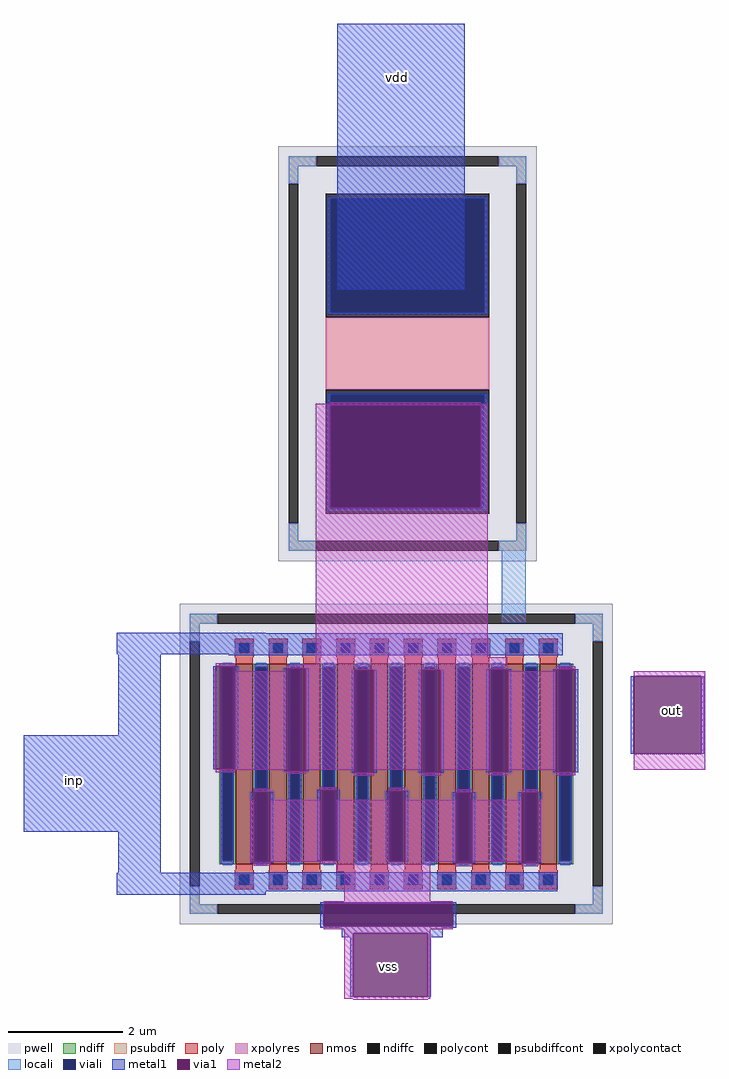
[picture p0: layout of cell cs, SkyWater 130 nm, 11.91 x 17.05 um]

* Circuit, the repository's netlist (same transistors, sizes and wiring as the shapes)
** sch_path: /home/vks/design/xschem/cs.sch
.subckt cs inp out vdd vss
*.PININFO inp:I out:O vdd:B vss:B
XM1 out inp vss vss sky130_fd_pr__nfet_01v8 L=0.30 W=35 nf=10 m=1
XR2 out vdd vss sky130_fd_pr__res_xhigh_po_2p85 L=1.43 mult=1 m=1
.ends
.end

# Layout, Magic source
magic
tech sky130A
magscale 1 2
<< locali >>
rect 1072 1600 1156 1886
<< viali >>
rect 450 540 902 618
<< metal1 >>
rect 498 2764 944 3694
rect 464 2002 474 2360
rect 1000 2002 1010 2360
rect -272 1564 248 1566
rect -272 1490 1286 1564
rect -268 1208 -118 1490
rect 118 1486 1286 1490
rect -598 870 -118 1208
rect 64 1088 74 1448
rect 142 1088 152 1448
rect 310 1082 320 1442
rect 388 1082 398 1442
rect 548 1076 558 1436
rect 626 1076 636 1436
rect 782 1076 792 1436
rect 860 1076 870 1436
rect 1018 1078 1028 1438
rect 1096 1078 1106 1438
rect 1252 1078 1262 1438
rect 1330 1078 1340 1438
rect 1524 1142 1534 1414
rect 1770 1142 1780 1414
rect -268 726 -118 870
rect 196 762 206 1010
rect 264 762 274 1010
rect 428 768 438 1016
rect 496 768 506 1016
rect 668 766 678 1014
rect 736 766 746 1014
rect 902 760 912 1008
rect 970 760 980 1008
rect 1132 760 1142 1008
rect 1200 760 1210 1008
rect 248 726 1266 728
rect -272 662 1266 726
rect -272 650 248 662
rect 438 618 914 624
rect 438 540 450 618
rect 902 540 914 618
rect 438 534 914 540
rect 514 516 866 534
rect 514 502 554 516
rect 544 294 554 502
rect 814 502 866 516
rect 814 294 824 502
<< via1 >>
rect 474 2002 1000 2360
rect 74 1088 142 1448
rect 320 1082 388 1442
rect 558 1076 626 1436
rect 792 1076 860 1436
rect 1028 1078 1096 1438
rect 1262 1078 1330 1438
rect 1534 1142 1770 1414
rect 206 762 264 1010
rect 438 768 496 1016
rect 678 766 736 1014
rect 912 760 970 1008
rect 1142 760 1200 1008
rect 450 540 902 618
rect 554 294 814 516
<< metal2 >>
rect 474 2366 1000 2370
rect 422 2360 1024 2366
rect 422 2002 474 2360
rect 1000 2002 1024 2360
rect 422 1480 1024 2002
rect 74 1448 142 1458
rect 422 1456 1092 1480
rect 364 1452 1092 1456
rect 70 1088 74 1430
rect 320 1448 1092 1452
rect 320 1442 1096 1448
rect 142 1088 320 1430
rect 70 1086 320 1088
rect 74 1078 142 1086
rect 388 1438 1096 1442
rect 388 1436 1028 1438
rect 388 1086 558 1436
rect 320 1072 388 1082
rect 626 1086 792 1436
rect 558 1066 626 1076
rect 860 1086 1028 1436
rect 792 1066 860 1076
rect 1262 1438 1330 1448
rect 1096 1086 1262 1430
rect 1028 1068 1096 1078
rect 1534 1414 1784 1430
rect 1770 1142 1784 1414
rect 1534 1086 1784 1142
rect 1262 1068 1330 1078
rect 206 1010 264 1020
rect 194 766 206 982
rect 438 1016 496 1026
rect 264 768 438 982
rect 678 1014 736 1024
rect 496 768 678 982
rect 264 766 678 768
rect 912 1008 970 1018
rect 736 766 912 982
rect 206 752 264 762
rect 438 758 822 766
rect 494 730 822 758
rect 1142 1008 1200 1018
rect 970 766 1142 982
rect 912 750 970 760
rect 1200 766 1210 982
rect 1142 750 1200 760
rect 522 628 822 730
rect 450 618 902 628
rect 450 530 902 540
rect 522 516 822 530
rect 522 294 554 516
rect 814 294 822 516
rect 522 286 822 294
rect 554 284 814 286
use sky130_fd_pr__nfet_01v8_WUV6BX  XM1
transform -1 0 704 0 1 1107
box -757 -560 757 560
use sky130_fd_pr__res_xhigh_po_2p85_53STJD  XR2
transform 1 0 743 0 1 2541
box -451 -725 451 725
<< labels >>
flabel via1 578 300 778 500 0 FreeSans 256 0 0 0 vss
port 3 nsew
flabel via1 1564 1192 1764 1392 0 FreeSans 256 0 0 0 out
port 0 nsew
flabel metal1 610 3406 810 3606 0 FreeSans 256 0 0 0 vdd
port 2 nsew
flabel metal1 -520 950 -320 1150 0 FreeSans 256 0 0 0 inp
port 1 nsew
<< end >>

# cell sky130_fd_pr__nfet_01v8_WUV6BX: kit device sky130_fd_pr__nfet_01v8, w 3.5 l 0.3 m 1 nf 10 diffcov 100 polycov 100 guard 1 glc 1 grc 1 gtc 1 gbc 1 tbcov 100 rlcov 100 topc 1 botc 1 poverlap 0 doverlap 1 lmin 0.15 wmin 0.42 compatible {sky130_fd_pr__nfet_01v8 sky130_fd_pr__nfet_01v8_lvt sky130_fd_bs_flash__special_sonosfet_star sky130_fd_pr__nfet_g5v0d10v5 sky130_fd_pr__nfet_05v0_nvt sky130_fd_pr__nfet_03v3_nvt} full_metal 1 viasrc 100 viadrn 100 viagate 100 viagb 0 viagr 0 viagl 0 viagt 0

# cell sky130_fd_pr__res_xhigh_po_2p85_53STJD: kit device sky130_fd_pr__res_xhigh_po_2p85, w 2.850 l 1.43 m 1 nx 1 wmin 2.850 lmin 0.50 rho 2000 val 1.135k dummy 0 dw 0.0 term 188.2 sterm 0.0 caplen 0 wmax 2.850 guard 1 glc 1 grc 1 gtc 1 gbc 1 compatible {sky130_fd_pr__res_xhigh_po_0p35 sky130_fd_pr__res_xhigh_po_0p69 sky130_fd_pr__res_xhigh_po_1p41 sky130_fd_pr__res_xhigh_po_2p85 sky130_fd_pr__res_xhigh_po_5p73} snake 0 full_metal 1 n_guard 0 hv_guard 0 vias 1 viagb 0 viagt 0 viagl 0 viagr 0
